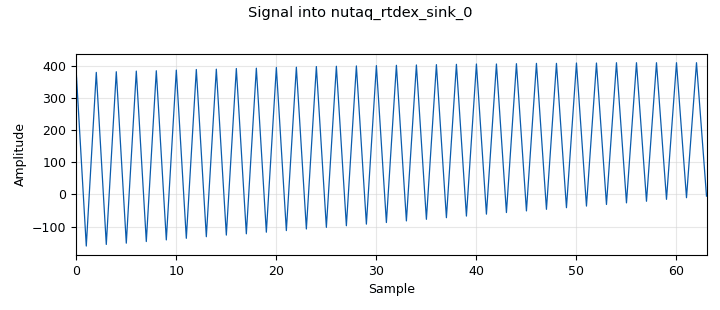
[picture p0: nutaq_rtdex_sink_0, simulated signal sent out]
<?xml version='1.0' encoding='utf-8'?>
<?grc format='1' created='3.7.8'?>
<flow_graph>
<block>
<key>options</key>
<param><key>id</key><value>top_tag_generator</value></param>
<param><key>category</key><value>Custom</value></param>
<param><key>generate_options</key><value>qt_gui</value></param>
<param><key>realtime_scheduling</key><value>1</value></param>
</block>
<block>
<key>variable</key>
<param><key>id</key><value>decimation</value></param>
<param><key>value</key><value>40</value></param>
</block>
<block>
<key>variable</key>
<param><key>id</key><value>freq</value></param>
<param><key>value</key><value>943e6</value></param>
</block>
<block>
<key>variable_qtgui_range</key>
<param><key>id</key><value>freq_sin</value></param>
<param><key>value</key><value>1000</value></param>
<param><key>orient</key><value>Qt.Horizontal</value></param>
<param><key>start</key><value>-2.5e5</value></param>
<param><key>step</key><value>500</value></param>
<param><key>stop</key><value>2.5e5</value></param>
</block>
<block>
<key>variable</key>
<param><key>id</key><value>samp_rate</value></param>
<param><key>value</key><value>5e5</value></param>
</block>
<block>
<key>COWN_syncher2</key>
<param><key>id</key><value>COWN_syncher2_0</value></param>
<param><key>affinity</key><value>7</value></param>
<param><key>maxoutbuf</key><value>2**18</value></param>
<param><key>minoutbuf</key><value>2**18</value></param>
</block>
<block>
<key>COWN_tag_generator</key>
<param><key>id</key><value>COWN_tag_generator_0</value></param>
<param><key>_enabled</key><value>0</value></param>
</block>
<block>
<key>analog_sig_source_x</key>
<param><key>id</key><value>analog_sig_source_x_0</value></param>
<param><key>amp</key><value>0.2</value></param>
<param><key>freq</key><value>freq_sin</value></param>
<param><key>offset</key><value>0</value></param>
<param><key>type</key><value>complex</value></param>
<param><key>samp_rate</key><value>samp_rate</value></param>
<param><key>waveform</key><value>analog.GR_COS_WAVE</value></param>
</block>
<block>
<key>avio505_resta</key>
<param><key>id</key><value>avio505_resta_0</value></param>
<param><key>_enabled</key><value>0</value></param>
<param><key>maxoutbuf</key><value>2**16</value></param>
<param><key>minoutbuf</key><value>2**16</value></param>
</block>
<block>
<key>avio505_resta</key>
<param><key>id</key><value>avio505_resta_1</value></param>
<param><key>affinity</key><value>7</value></param>
<param><key>_enabled</key><value>0</value></param>
<param><key>maxoutbuf</key><value>2**18</value></param>
<param><key>minoutbuf</key><value>2**18</value></param>
</block>
<block>
<key>blocks_complex_to_float</key>
<param><key>id</key><value>blocks_complex_to_float_0</value></param>
<param><key>maxoutbuf</key><value>2**17</value></param>
<param><key>minoutbuf</key><value>2**17</value></param>
</block>
<block>
<key>blocks_complex_to_float</key>
<param><key>id</key><value>blocks_complex_to_float_1</value></param>
<param><key>_enabled</key><value>0</value></param>
</block>
<block>
<key>blocks_deinterleave</key>
<param><key>id</key><value>blocks_deinterleave_0</value></param>
<param><key>affinity</key><value>7</value></param>
<param><key>type</key><value>int</value></param>
<param><key>maxoutbuf</key><value>2**18</value></param>
<param><key>minoutbuf</key><value>2**18</value></param>
<param><key>num_streams</key><value>4</value></param>
</block>
<block>
<key>blocks_delay</key>
<param><key>id</key><value>blocks_delay_0</value></param>
<param><key>delay</key><value>1</value></param>
<param><key>_enabled</key><value>0</value></param>
<param><key>maxoutbuf</key><value>8192*4</value></param>
<param><key>minoutbuf</key><value>8192*4</value></param>
<param><key>type</key><value>int</value></param>
</block>
<block>
<key>blocks_file_sink</key>
<param><key>id</key><value>blocks_file_sink_0</value></param>
<param><key>_enabled</key><value>0</value></param>
<param><key>file</key><value>/home/juan/cognitive/fornutaq/gr-ofdm_80211/examples/waveforms/recorded_counter.bin</value></param>
<param><key>type</key><value>int</value></param>
</block>
<block>
<key>blocks_file_source</key>
<param><key>id</key><value>blocks_file_source_0_0</value></param>
<param><key>_enabled</key><value>0</value></param>
<param><key>file</key><value>/home/juan/cognitive/fornutaq/gr-ofdm_80211/examples/waveforms/fmcw_chirp_80pc.bin</value></param>
<param><key>type</key><value>complex</value></param>
<param><key>repeat</key><value>True</value></param>
</block>
<block>
<key>blocks_float_to_complex</key>
<param><key>id</key><value>blocks_float_to_complex_0</value></param>
<param><key>_enabled</key><value>0</value></param>
</block>
<block>
<key>blocks_float_to_complex</key>
<param><key>id</key><value>blocks_float_to_complex_1</value></param>
<param><key>affinity</key><value>4</value></param>
<param><key>maxoutbuf</key><value>2**18</value></param>
<param><key>minoutbuf</key><value>2**18</value></param>
</block>
<block>
<key>blocks_float_to_short</key>
<param><key>id</key><value>blocks_float_to_short_0_0</value></param>
<param><key>scale</key><value>2**11-1</value></param>
</block>
<block>
<key>blocks_float_to_short</key>
<param><key>id</key><value>blocks_float_to_short_0_0_0</value></param>
<param><key>scale</key><value>2**11-1</value></param>
</block>
<block>
<key>blocks_int_to_float</key>
<param><key>id</key><value>blocks_int_to_float_0</value></param>
<param><key>_enabled</key><value>0</value></param>
<param><key>scale</key><value>1</value></param>
</block>
<block>
<key>blocks_int_to_float</key>
<param><key>id</key><value>blocks_int_to_float_1</value></param>
<param><key>_enabled</key><value>0</value></param>
<param><key>scale</key><value>1</value></param>
</block>
<block>
<key>blocks_int_to_float</key>
<param><key>id</key><value>blocks_int_to_float_1_0</value></param>
<param><key>_enabled</key><value>0</value></param>
<param><key>scale</key><value>1</value></param>
</block>
<block>
<key>blocks_interleave</key>
<param><key>id</key><value>blocks_interleave_0</value></param>
<param><key>type</key><value>short</value></param>
</block>
<block>
<key>blocks_multiply_const_vxx</key>
<param><key>id</key><value>blocks_multiply_const_vxx_0</value></param>
<param><key>const</key><value>0.6</value></param>
<param><key>_enabled</key><value>0</value></param>
<param><key>type</key><value>complex</value></param>
</block>
<block>
<key>blocks_null_sink</key>
<param><key>id</key><value>blocks_null_sink_0</value></param>
<param><key>bus_conns</key><value>[[0,],]</value></param>
<param><key>type</key><value>float</value></param>
</block>
<block>
<key>blocks_null_sink</key>
<param><key>id</key><value>blocks_null_sink_0_0</value></param>
<param><key>bus_conns</key><value>[[0,],]</value></param>
<param><key>type</key><value>float</value></param>
</block>
<block>
<key>blocks_null_source</key>
<param><key>id</key><value>blocks_null_source_0</value></param>
<param><key>bus_conns</key><value>[[0,],]</value></param>
<param><key>type</key><value>float</value></param>
</block>
<block>
<key>blocks_sub_xx</key>
<param><key>id</key><value>blocks_sub_xx_0</value></param>
<param><key>_enabled</key><value>0</value></param>
<param><key>type</key><value>int</value></param>
<param><key>maxoutbuf</key><value>8192*4</value></param>
<param><key>minoutbuf</key><value>8192*4</value></param>
</block>
<block>
<key>nutaq_carrier_perseus</key>
<param><key>id</key><value>nutaq_carrier_perseus_0</value></param>
<param><key>ip_addr</key><value>192.168.0.102</value></param>
</block>
<block>
<key>nutaq_custom_register</key>
<param><key>id</key><value>nutaq_custom_register_0</value></param>
<param><key>block_priority</key><value>4</value></param>
<param><key>index</key><value>1</value></param>
<param><key>value</key><value>3</value></param>
<param><key>target_id</key><value>nutaq_carrier_perseus_0</value></param>
<param><key>update_rate</key><value>1</value></param>
</block>
<block>
<key>nutaq_custom_register</key>
<param><key>id</key><value>nutaq_custom_register_0_0</value></param>
<param><key>block_priority</key><value>5</value></param>
<param><key>index</key><value>4</value></param>
<param><key>value</key><value>0</value></param>
<param><key>target_id</key><value>nutaq_carrier_perseus_0</value></param>
<param><key>update_rate</key><value>1</value></param>
</block>
<block>
<key>nutaq_custom_register</key>
<param><key>id</key><value>nutaq_custom_register_0_0_0</value></param>
<param><key>block_priority</key><value>5</value></param>
<param><key>index</key><value>6</value></param>
<param><key>value</key><value>600</value></param>
<param><key>target_id</key><value>nutaq_carrier_perseus_0</value></param>
<param><key>update_rate</key><value>1</value></param>
</block>
<block>
<key>nutaq_custom_register</key>
<param><key>id</key><value>nutaq_custom_register_0_0_1</value></param>
<param><key>block_priority</key><value>5</value></param>
<param><key>index</key><value>3</value></param>
<param><key>value</key><value>7</value></param>
<param><key>target_id</key><value>nutaq_carrier_perseus_0</value></param>
<param><key>update_rate</key><value>1</value></param>
</block>
<block>
<key>nutaq_custom_register</key>
<param><key>id</key><value>nutaq_custom_register_0_1</value></param>
<param><key>block_priority</key><value>4</value></param>
<param><key>index</key><value>2</value></param>
<param><key>value</key><value>0</value></param>
<param><key>target_id</key><value>nutaq_carrier_perseus_0</value></param>
<param><key>update_rate</key><value>1</value></param>
</block>
<block>
<key>nutaq_custom_register</key>
<param><key>id</key><value>nutaq_custom_register_0_2</value></param>
<param><key>block_priority</key><value>4</value></param>
<param><key>index</key><value>0</value></param>
<param><key>value</key><value>int((4e6)/samp_rate/40*(2**32))</value></param>
<param><key>target_id</key><value>nutaq_carrier_perseus_0</value></param>
<param><key>update_rate</key><value>1</value></param>
</block>
<block>
<key>nutaq_custom_register</key>
<param><key>id</key><value>nutaq_custom_register_0_3</value></param>
<param><key>block_priority</key><value>11</value></param>
<param><key>index</key><value>2</value></param>
<param><key>value</key><value>int((4.0e6*0 + freq_sin*0)/samp_rate/40*(2**32))</value></param>
<param><key>target_id</key><value>nutaq_carrier_perseus_0</value></param>
<param><key>update_rate</key><value>1</value></param>
</block>
<block>
<key>nutaq_radio420_rx</key>
<param><key>id</key><value>nutaq_radio420_rx_0</value></param>
<param><key>calibrate</key><value>1</value></param>
<param><key>band</key><value>0</value></param>
<param><key>block_priority</key><value>1</value></param>
<param><key>selected_card</key><value>1</value></param>
<param><key>datarate</key><value>samp_rate*2*decimation</value></param>
<param><key>enable</key><value>1</value></param>
<param><key>pll_cpld_ctrl</key><value>0</value></param>
<param><key>rx_rf_filter</key><value>2</value></param>
<param><key>rx_gain_ctrl</key><value>0</value></param>
<param><key>rx_lna_gain</key><value>3</value></param>
<param><key>rx_lpf_bandwidth</key><value>2</value></param>
<param><key>rx_vga1_gain</key><value>3</value></param>
<param><key>rx_freq</key><value>943e6</value></param>
<param><key>rx_gain2</key><value>0</value></param>
<param><key>rx_gain3</key><value>3</value></param>
<param><key>rf_ctrl</key><value>0</value></param>
<param><key>ref_clk_ctrl</key><value>0</value></param>
<param><key>reference</key><value>0</value></param>
<param><key>target_id</key><value>nutaq_carrier_perseus_0</value></param>
<param><key>update_rate</key><value>1</value></param>
</block>
<block>
<key>nutaq_radio420_rx</key>
<param><key>id</key><value>nutaq_radio420_rx_0_0</value></param>
<param><key>calibrate</key><value>1</value></param>
<param><key>band</key><value>0</value></param>
<param><key>block_priority</key><value>3</value></param>
<param><key>selected_card</key><value>2</value></param>
<param><key>datarate</key><value>samp_rate*2*decimation</value></param>
<param><key>enable</key><value>1</value></param>
<param><key>pll_cpld_ctrl</key><value>0</value></param>
<param><key>rx_rf_filter</key><value>2</value></param>
<param><key>rx_gain_ctrl</key><value>0</value></param>
<param><key>rx_lna_gain</key><value>3</value></param>
<param><key>rx_lpf_bandwidth</key><value>2</value></param>
<param><key>rx_vga1_gain</key><value>1</value></param>
<param><key>rx_freq</key><value>943e6</value></param>
<param><key>rx_gain2</key><value>0</value></param>
<param><key>rx_gain3</key><value>8</value></param>
<param><key>rf_ctrl</key><value>0</value></param>
<param><key>ref_clk_ctrl</key><value>0</value></param>
<param><key>reference</key><value>0</value></param>
<param><key>target_id</key><value>nutaq_carrier_perseus_0</value></param>
<param><key>update_rate</key><value>1</value></param>
</block>
<block>
<key>nutaq_radio420_rx</key>
<param><key>id</key><value>nutaq_radio420_rx_0_0_0</value></param>
<param><key>calibrate</key><value>1</value></param>
<param><key>band</key><value>0</value></param>
<param><key>block_priority</key><value>3</value></param>
<param><key>selected_card</key><value>2</value></param>
<param><key>datarate</key><value>samp_rate*2*decimation</value></param>
<param><key>enable</key><value>1</value></param>
<param><key>_enabled</key><value>0</value></param>
<param><key>pll_cpld_ctrl</key><value>0</value></param>
<param><key>rx_rf_filter</key><value>2</value></param>
<param><key>rx_gain_ctrl</key><value>0</value></param>
<param><key>rx_lna_gain</key><value>3</value></param>
<param><key>rx_lpf_bandwidth</key><value>2</value></param>
<param><key>rx_vga1_gain</key><value>3</value></param>
<param><key>rx_freq</key><value>943e6</value></param>
<param><key>rx_gain2</key><value>0</value></param>
<param><key>rx_gain3</key><value>8</value></param>
<param><key>rf_ctrl</key><value>0</value></param>
<param><key>ref_clk_ctrl</key><value>0</value></param>
<param><key>reference</key><value>0</value></param>
<param><key>target_id</key><value>nutaq_carrier_perseus_0</value></param>
<param><key>update_rate</key><value>1</value></param>
</block>
<block>
<key>nutaq_radio420_rx</key>
<param><key>id</key><value>nutaq_radio420_rx_0_1</value></param>
<param><key>calibrate</key><value>1</value></param>
<param><key>band</key><value>0</value></param>
<param><key>block_priority</key><value>1</value></param>
<param><key>selected_card</key><value>1</value></param>
<param><key>datarate</key><value>samp_rate*2*decimation</value></param>
<param><key>enable</key><value>0</value></param>
<param><key>_enabled</key><value>0</value></param>
<param><key>pll_cpld_ctrl</key><value>0</value></param>
<param><key>rx_rf_filter</key><value>2</value></param>
<param><key>rx_gain_ctrl</key><value>0</value></param>
<param><key>rx_lna_gain</key><value>2</value></param>
<param><key>rx_lpf_bandwidth</key><value>2</value></param>
<param><key>rx_vga1_gain</key><value>1</value></param>
<param><key>rx_freq</key><value>943e6</value></param>
<param><key>rx_gain2</key><value>0</value></param>
<param><key>rx_gain3</key><value>3</value></param>
<param><key>rf_ctrl</key><value>0</value></param>
<param><key>ref_clk_ctrl</key><value>0</value></param>
<param><key>reference</key><value>0</value></param>
<param><key>target_id</key><value>nutaq_carrier_perseus_0</value></param>
<param><key>update_rate</key><value>1</value></param>
</block>
<block>
<key>nutaq_radio420_tx</key>
<param><key>id</key><value>nutaq_radio420_tx_0_0</value></param>
<param><key>calibrate</key><value>0</value></param>
<param><key>band</key><value>0</value></param>
<param><key>block_priority</key><value>0</value></param>
<param><key>selected_card</key><value>1</value></param>
<param><key>datarate</key><value>samp_rate*2*decimation</value></param>
<param><key>enable</key><value>1</value></param>
<param><key>pll_cpld_ctrl</key><value>0</value></param>
<param><key>rf_ctrl</key><value>0</value></param>
<param><key>ref_clk_ctrl</key><value>0</value></param>
<param><key>reference</key><value>0</value></param>
<param><key>tx_gain_ctrl</key><value>0</value></param>
<param><key>tx_lpf_bandwidth</key><value>2</value></param>
<param><key>tx_vga1_gain</key><value>-20</value></param>
<param><key>tx_vga2_gain</key><value>0</value></param>
<param><key>tx_freq</key><value>943e6</value></param>
<param><key>tx_gain3</key><value>0</value></param>
<param><key>target_id</key><value>nutaq_carrier_perseus_0</value></param>
<param><key>update_rate</key><value>1</value></param>
</block>
<block>
<key>nutaq_radio420_tx</key>
<param><key>id</key><value>nutaq_radio420_tx_0_0_0</value></param>
<param><key>calibrate</key><value>0</value></param>
<param><key>band</key><value>0</value></param>
<param><key>block_priority</key><value>2</value></param>
<param><key>selected_card</key><value>2</value></param>
<param><key>datarate</key><value>samp_rate*2*decimation</value></param>
<param><key>enable</key><value>1</value></param>
<param><key>pll_cpld_ctrl</key><value>0</value></param>
<param><key>rf_ctrl</key><value>0</value></param>
<param><key>ref_clk_ctrl</key><value>0</value></param>
<param><key>reference</key><value>0</value></param>
<param><key>tx_gain_ctrl</key><value>0</value></param>
<param><key>tx_lpf_bandwidth</key><value>6</value></param>
<param><key>tx_vga1_gain</key><value>-10</value></param>
<param><key>tx_vga2_gain</key><value>15</value></param>
<param><key>tx_freq</key><value>943e6</value></param>
<param><key>tx_gain3</key><value>3</value></param>
<param><key>target_id</key><value>nutaq_carrier_perseus_0</value></param>
<param><key>update_rate</key><value>1</value></param>
</block>
<block>
<key>nutaq_radio420_tx</key>
<param><key>id</key><value>nutaq_radio420_tx_0_0_0_0</value></param>
<param><key>calibrate</key><value>1</value></param>
<param><key>band</key><value>0</value></param>
<param><key>block_priority</key><value>2</value></param>
<param><key>selected_card</key><value>2</value></param>
<param><key>datarate</key><value>samp_rate*2*decimation</value></param>
<param><key>enable</key><value>0</value></param>
<param><key>_enabled</key><value>0</value></param>
<param><key>pll_cpld_ctrl</key><value>0</value></param>
<param><key>rf_ctrl</key><value>0</value></param>
<param><key>ref_clk_ctrl</key><value>0</value></param>
<param><key>reference</key><value>0</value></param>
<param><key>tx_gain_ctrl</key><value>0</value></param>
<param><key>tx_lpf_bandwidth</key><value>6</value></param>
<param><key>tx_vga1_gain</key><value>-10</value></param>
<param><key>tx_vga2_gain</key><value>15</value></param>
<param><key>tx_freq</key><value>743e6</value></param>
<param><key>tx_gain3</key><value>3</value></param>
<param><key>target_id</key><value>nutaq_carrier_perseus_0</value></param>
<param><key>update_rate</key><value>1</value></param>
</block>
<block>
<key>nutaq_radio420_tx</key>
<param><key>id</key><value>nutaq_radio420_tx_0_0_1</value></param>
<param><key>calibrate</key><value>1</value></param>
<param><key>band</key><value>0</value></param>
<param><key>block_priority</key><value>0</value></param>
<param><key>selected_card</key><value>1</value></param>
<param><key>datarate</key><value>samp_rate*2*decimation</value></param>
<param><key>enable</key><value>0</value></param>
<param><key>_enabled</key><value>0</value></param>
<param><key>pll_cpld_ctrl</key><value>0</value></param>
<param><key>rf_ctrl</key><value>0</value></param>
<param><key>ref_clk_ctrl</key><value>0</value></param>
<param><key>reference</key><value>0</value></param>
<param><key>tx_gain_ctrl</key><value>0</value></param>
<param><key>tx_lpf_bandwidth</key><value>6</value></param>
<param><key>tx_vga1_gain</key><value>-10</value></param>
<param><key>tx_vga2_gain</key><value>15</value></param>
<param><key>tx_freq</key><value>743e6</value></param>
<param><key>tx_gain3</key><value>3</value></param>
<param><key>target_id</key><value>nutaq_carrier_perseus_0</value></param>
<param><key>update_rate</key><value>1</value></param>
</block>
<block>
<key>nutaq_rtdex_sink</key>
<param><key>id</key><value>nutaq_rtdex_sink_0</value></param>
<param><key>block_priority</key><value>1</value></param>
<param><key>channels</key><value>0</value></param>
<param><key>type</key><value>short</value></param>
<param><key>media_type</key><value>0</value></param>
<param><key>num_chan</key><value>1</value></param>
<param><key>packet_size</key><value>8192</value></param>
<param><key>target_id</key><value>nutaq_carrier_perseus_0</value></param>
</block>
<block>
<key>nutaq_rtdex_source</key>
<param><key>id</key><value>nutaq_rtdex_source_0</value></param>
<param><key>block_priority</key><value>0</value></param>
<param><key>channels</key><value>0</value></param>
<param><key>maxoutbuf</key><value>8192*100</value></param>
<param><key>media_type</key><value>0</value></param>
<param><key>minoutbuf</key><value>8192*100</value></param>
<param><key>num_chan</key><value>1</value></param>
<param><key>type</key><value>float</value></param>
<param><key>packet_size</key><value>8192</value></param>
<param><key>target_id</key><value>nutaq_carrier_perseus_0</value></param>
</block>
<block>
<key>qtgui_freq_sink_x</key>
<param><key>id</key><value>qtgui_freq_sink_x_0</value></param>
<param><key>bw</key><value>samp_rate</value></param>
<param><key>fc</key><value>0</value></param>
<param><key>_enabled</key><value>0</value></param>
<param><key>fftsize</key><value>1024</value></param>
<param><key>showports</key><value>True</value></param>
<param><key>type</key><value>complex</value></param>
<param><key>wintype</key><value>firdes.WIN_BLACKMAN_hARRIS</value></param>
</block>
<block>
<key>qtgui_freq_sink_x</key>
<param><key>id</key><value>qtgui_freq_sink_x_1</value></param>
<param><key>bw</key><value>samp_rate</value></param>
<param><key>fc</key><value>0</value></param>
<param><key>fftsize</key><value>1024</value></param>
<param><key>showports</key><value>True</value></param>
<param><key>type</key><value>complex</value></param>
<param><key>wintype</key><value>firdes.WIN_BLACKMAN_hARRIS</value></param>
</block>
<block>
<key>qtgui_time_sink_x</key>
<param><key>id</key><value>qtgui_time_sink_x_0</value></param>
<param><key>autoscale</key><value>True</value></param>
<param><key>_enabled</key><value>0</value></param>
<param><key>gui_hint</key><value>1,1,1,1</value></param>
<param><key>grid</key><value>True</value></param>
<param><key>color1</key><value>"blue"</value></param>
<param><key>label1</key><value></value></param>
<param><key>size</key><value>2**10</value></param>
<param><key>srate</key><value>samp_rate</value></param>
<param><key>type</key><value>float</value></param>
</block>
<block>
<key>qtgui_time_sink_x</key>
<param><key>id</key><value>qtgui_time_sink_x_0_0</value></param>
<param><key>autoscale</key><value>True</value></param>
<param><key>_enabled</key><value>0</value></param>
<param><key>gui_hint</key><value>2,1,1,1</value></param>
<param><key>grid</key><value>True</value></param>
<param><key>color1</key><value>"blue"</value></param>
<param><key>label1</key><value></value></param>
<param><key>color2</key><value>"red"</value></param>
<param><key>label2</key><value></value></param>
<param><key>color3</key><value>"green"</value></param>
<param><key>label3</key><value></value></param>
<param><key>nconnections</key><value>3</value></param>
<param><key>size</key><value>2**10</value></param>
<param><key>srate</key><value>samp_rate</value></param>
<param><key>type</key><value>float</value></param>
</block>
<block>
<key>qtgui_time_sink_x</key>
<param><key>id</key><value>qtgui_time_sink_x_0_0_0</value></param>
<param><key>autoscale</key><value>True</value></param>
<param><key>_enabled</key><value>0</value></param>
<param><key>gui_hint</key><value>1,2,1,1</value></param>
<param><key>grid</key><value>True</value></param>
<param><key>color1</key><value>"blue"</value></param>
<param><key>label1</key><value></value></param>
<param><key>size</key><value>2**10</value></param>
<param><key>srate</key><value>samp_rate</value></param>
<param><key>type</key><value>float</value></param>
</block>
<block>
<key>qtgui_time_sink_x</key>
<param><key>id</key><value>qtgui_time_sink_x_0_0_0_0</value></param>
<param><key>gui_hint</key><value>2,2,1,1</value></param>
<param><key>grid</key><value>True</value></param>
<param><key>color1</key><value>"blue"</value></param>
<param><key>label1</key><value></value></param>
<param><key>color2</key><value>"red"</value></param>
<param><key>label2</key><value></value></param>
<param><key>color3</key><value>"green"</value></param>
<param><key>label3</key><value></value></param>
<param><key>color4</key><value>"black"</value></param>
<param><key>label4</key><value></value></param>
<param><key>nconnections</key><value>4</value></param>
<param><key>size</key><value>2**13</value></param>
<param><key>srate</key><value>samp_rate</value></param>
<param><key>tr_chan</key><value>3</value></param>
<param><key>tr_delay</key><value>1e-3</value></param>
<param><key>tr_level</key><value>0</value></param>
<param><key>tr_mode</key><value>qtgui.TRIG_MODE_NORM</value></param>
<param><key>type</key><value>float</value></param>
</block>
<block>
<key>qtgui_time_sink_x</key>
<param><key>id</key><value>qtgui_time_sink_x_0_0_0_1</value></param>
<param><key>autoscale</key><value>True</value></param>
<param><key>_enabled</key><value>0</value></param>
<param><key>grid</key><value>True</value></param>
<param><key>alpha1</key><value>1</value></param>
<param><key>color1</key><value>"blue"</value></param>
<param><key>label1</key><value>I</value></param>
<param><key>size</key><value>2**15</value></param>
<param><key>srate</key><value>samp_rate</value></param>
<param><key>tr_delay</key><value>5e-4</value></param>
<param><key>tr_level</key><value>2</value></param>
<param><key>tr_tag</key><value>"BAD TAG"</value></param>
<param><key>type</key><value>float</value></param>
<param><key>ymax</key><value>0.8</value></param>
<param><key>ymin</key><value>-0.8</value></param>
</block>
<block>
<key>qtgui_time_sink_x</key>
<param><key>id</key><value>qtgui_time_sink_x_0_0_0_1_0</value></param>
<param><key>autoscale</key><value>True</value></param>
<param><key>_enabled</key><value>0</value></param>
<param><key>grid</key><value>True</value></param>
<param><key>alpha1</key><value>1</value></param>
<param><key>color1</key><value>"blue"</value></param>
<param><key>label1</key><value>I</value></param>
<param><key>size</key><value>2**15</value></param>
<param><key>srate</key><value>samp_rate</value></param>
<param><key>tr_delay</key><value>5e-4</value></param>
<param><key>tr_level</key><value>42</value></param>
<param><key>tr_mode</key><value>qtgui.TRIG_MODE_NORM</value></param>
<param><key>tr_tag</key><value>"BAD TAG"</value></param>
<param><key>type</key><value>float</value></param>
<param><key>ymax</key><value>0.8</value></param>
<param><key>ymin</key><value>-0.8</value></param>
</block>
<block>
<key>wxgui_scopesink2</key>
<param><key>id</key><value>wxgui_scopesink2_0</value></param>
<param><key>ac_couple</key><value>False</value></param>
<param><key>_enabled</key><value>0</value></param>
<param><key>num_inputs</key><value>1</value></param>
<param><key>samp_rate</key><value>samp_rate/2/40</value></param>
<param><key>t_scale</key><value>0</value></param>
<param><key>title</key><value>Scope Plot</value></param>
<param><key>trig_mode</key><value>wxgui.TRIG_MODE_STRIPCHART</value></param>
<param><key>type</key><value>float</value></param>
<param><key>v_offset</key><value>0</value></param>
<param><key>v_scale</key><value>0</value></param>
<param><key>xy_mode</key><value>False</value></param>
<param><key>y_axis_label</key><value>Counts</value></param>
</block>
<connection><source_block_id>COWN_syncher2_0</source_block_id><sink_block_id>blocks_deinterleave_0</sink_block_id><source_key>0</source_key><sink_key>0</sink_key></connection>
<connection><source_block_id>COWN_tag_generator_0</source_block_id><sink_block_id>blocks_complex_to_float_1</sink_block_id><source_key>0</source_key><sink_key>0</sink_key></connection>
<connection><source_block_id>analog_sig_source_x_0</source_block_id><sink_block_id>blocks_complex_to_float_0</sink_block_id><source_key>0</source_key><sink_key>0</sink_key></connection>
<connection><source_block_id>avio505_resta_1</source_block_id><sink_block_id>blocks_null_sink_0_0</sink_block_id><source_key>0</source_key><sink_key>0</sink_key></connection>
<connection><source_block_id>blocks_complex_to_float_0</source_block_id><sink_block_id>blocks_float_to_short_0_0_0</sink_block_id><source_key>1</source_key><sink_key>0</sink_key></connection>
<connection><source_block_id>blocks_complex_to_float_0</source_block_id><sink_block_id>blocks_float_to_short_0_0</sink_block_id><source_key>0</source_key><sink_key>0</sink_key></connection>
<connection><source_block_id>blocks_complex_to_float_0</source_block_id><sink_block_id>qtgui_time_sink_x_0_0_0_0</sink_block_id><source_key>0</source_key><sink_key>3</sink_key></connection>
<connection><source_block_id>blocks_complex_to_float_1</source_block_id><sink_block_id>qtgui_time_sink_x_0</sink_block_id><source_key>1</source_key><sink_key>0</sink_key></connection>
<connection><source_block_id>blocks_complex_to_float_1</source_block_id><sink_block_id>qtgui_time_sink_x_0_0</sink_block_id><source_key>0</source_key><sink_key>0</sink_key></connection>
<connection><source_block_id>blocks_deinterleave_0</source_block_id><sink_block_id>blocks_null_sink_0</sink_block_id><source_key>0</source_key><sink_key>0</sink_key></connection>
<connection><source_block_id>blocks_deinterleave_0</source_block_id><sink_block_id>blocks_float_to_complex_0</sink_block_id><source_key>1</source_key><sink_key>0</sink_key></connection>
<connection><source_block_id>blocks_deinterleave_0</source_block_id><sink_block_id>blocks_float_to_complex_1</sink_block_id><source_key>1</source_key><sink_key>0</sink_key></connection>
<connection><source_block_id>blocks_deinterleave_0</source_block_id><sink_block_id>qtgui_time_sink_x_0</sink_block_id><source_key>1</source_key><sink_key>0</sink_key></connection>
<connection><source_block_id>blocks_deinterleave_0</source_block_id><sink_block_id>qtgui_time_sink_x_0_0</sink_block_id><source_key>1</source_key><sink_key>1</sink_key></connection>
<connection><source_block_id>blocks_deinterleave_0</source_block_id><sink_block_id>qtgui_time_sink_x_0_0_0_0</sink_block_id><source_key>1</source_key><sink_key>1</sink_key></connection>
<connection><source_block_id>blocks_deinterleave_0</source_block_id><sink_block_id>blocks_float_to_complex_0</sink_block_id><source_key>2</source_key><sink_key>1</sink_key></connection>
<connection><source_block_id>blocks_deinterleave_0</source_block_id><sink_block_id>blocks_float_to_complex_1</sink_block_id><source_key>2</source_key><sink_key>1</sink_key></connection>
<connection><source_block_id>blocks_deinterleave_0</source_block_id><sink_block_id>qtgui_time_sink_x_0_0</sink_block_id><source_key>2</source_key><sink_key>2</sink_key></connection>
<connection><source_block_id>blocks_deinterleave_0</source_block_id><sink_block_id>qtgui_time_sink_x_0_0_0</sink_block_id><source_key>2</source_key><sink_key>0</sink_key></connection>
<connection><source_block_id>blocks_deinterleave_0</source_block_id><sink_block_id>qtgui_time_sink_x_0_0_0_0</sink_block_id><source_key>2</source_key><sink_key>2</sink_key></connection>
<connection><source_block_id>blocks_deinterleave_0</source_block_id><sink_block_id>blocks_int_to_float_0</sink_block_id><source_key>3</source_key><sink_key>0</sink_key></connection>
<connection><source_block_id>blocks_deinterleave_0</source_block_id><sink_block_id>blocks_null_sink_0_0</sink_block_id><source_key>3</source_key><sink_key>0</sink_key></connection>
<connection><source_block_id>blocks_delay_0</source_block_id><sink_block_id>blocks_sub_xx_0</sink_block_id><source_key>0</source_key><sink_key>1</sink_key></connection>
<connection><source_block_id>blocks_file_source_0_0</source_block_id><sink_block_id>blocks_multiply_const_vxx_0</sink_block_id><source_key>0</source_key><sink_key>0</sink_key></connection>
<connection><source_block_id>blocks_float_to_complex_0</source_block_id><sink_block_id>qtgui_freq_sink_x_0</sink_block_id><source_key>0</source_key><sink_key>0</sink_key></connection>
<connection><source_block_id>blocks_float_to_complex_1</source_block_id><sink_block_id>qtgui_freq_sink_x_1</sink_block_id><source_key>0</source_key><sink_key>0</sink_key></connection>
<connection><source_block_id>blocks_float_to_short_0_0</source_block_id><sink_block_id>blocks_interleave_0</sink_block_id><source_key>0</source_key><sink_key>0</sink_key></connection>
<connection><source_block_id>blocks_float_to_short_0_0_0</source_block_id><sink_block_id>blocks_interleave_0</sink_block_id><source_key>0</source_key><sink_key>1</sink_key></connection>
<connection><source_block_id>blocks_int_to_float_0</source_block_id><sink_block_id>avio505_resta_1</sink_block_id><source_key>0</source_key><sink_key>0</sink_key></connection>
<connection><source_block_id>blocks_int_to_float_1</source_block_id><sink_block_id>qtgui_time_sink_x_0_0_0_1_0</sink_block_id><source_key>0</source_key><sink_key>0</sink_key></connection>
<connection><source_block_id>blocks_int_to_float_1</source_block_id><sink_block_id>wxgui_scopesink2_0</sink_block_id><source_key>0</source_key><sink_key>0</sink_key></connection>
<connection><source_block_id>blocks_int_to_float_1_0</source_block_id><sink_block_id>qtgui_time_sink_x_0_0_0_1</sink_block_id><source_key>0</source_key><sink_key>0</sink_key></connection>
<connection><source_block_id>blocks_interleave_0</source_block_id><sink_block_id>nutaq_rtdex_sink_0</sink_block_id><source_key>0</source_key><sink_key>0</sink_key></connection>
<connection><source_block_id>blocks_multiply_const_vxx_0</source_block_id><sink_block_id>blocks_complex_to_float_0</sink_block_id><source_key>0</source_key><sink_key>0</sink_key></connection>
<connection><source_block_id>blocks_null_source_0</source_block_id><sink_block_id>qtgui_time_sink_x_0_0_0_0</sink_block_id><source_key>0</source_key><sink_key>0</sink_key></connection>
<connection><source_block_id>blocks_sub_xx_0</source_block_id><sink_block_id>blocks_int_to_float_1</sink_block_id><source_key>0</source_key><sink_key>0</sink_key></connection>
<connection><source_block_id>nutaq_rtdex_source_0</source_block_id><sink_block_id>COWN_syncher2_0</sink_block_id><source_key>0</source_key><sink_key>0</sink_key></connection>
</flow_graph>
